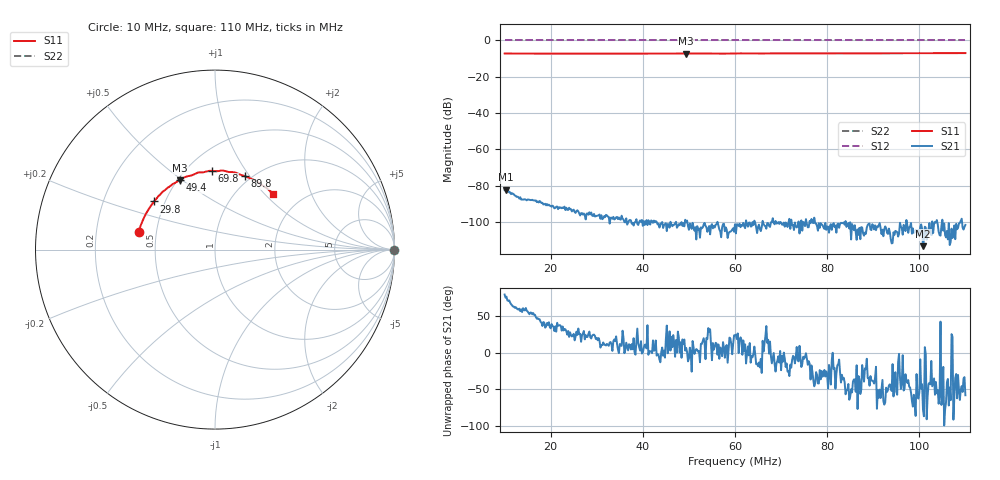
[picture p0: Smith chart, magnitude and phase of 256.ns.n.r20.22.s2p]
! Anritsu VNA Master:  Model: MS2036C/10/77
! SN:  1601066
! /card0/usr/256.ns.n.r20.22.s2p
! Existing Calibration Information:
! TYPE:  Current Settings,  Active Cal Settings
! TIME:  12/19/2017 04:17:31 PM,  12/19/2017 03:58:02 PM
! INTERNAL TEMP:  46.3 C,  47.0 C
! # POINTS:  501,  501
! START FREQ:  10.000 MHz,  10.000 MHz
! STOP FREQ:  110.000 MHz,  110.000 MHz
! SOURCE POWER:  High,  High
! IFBW:  100 Hz,  100 Hz
! AVG FACTOR:  1 ,  1
! REF PLANE 1:  0 mm,  0 mm
! REF PLANE 2:  0 mm,  0 mm
! CAL TYPE:  Full S11,  Full S11
! CAL METHOD:  SOLT,  SOLT
! CAL LINE TYPE:  Coax,  Coax
! DUT PORT 1:  N-Conn(F),  N-Conn(F)
! DUT PORT 2:  K-Conn(F),  K-Conn(F)
! CAL STATUS:  OK: Accuracy High,  --
# GHZ S DB R 50.0
! FREQ.GHZ  S11DB  S11A  S21DB  S21A  S12DB  S12A  S22DB  S22A
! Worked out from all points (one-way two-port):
!   501 points, 10 MHz to 110 MHz, reference 50 ohm
!   highest |S21| = -82.26 dB at 10.2 MHz (marker M1); lowest = -113.4 dB at 100.8 MHz (marker M2)
!   lowest |S11| = -7.3 dB at 49.4 MHz (marker M3), VSWR 2.52, Z = 25.8 + j24.5 ohm
!   |S11| at or under -10 dB: nowhere
!   |S22| runs from 0.0 to 0.0 dB; largest |S21 - S12| = 1
!   S11 on the Smith chart (normalised r, x): 10 MHz: 0.40, +0.10; 29.8 MHz: 0.43, +0.29; 49.4 MHz: 0.52, +0.49; 69.8 MHz: 0.66, +0.72; 89.8 MHz: 0.93, +0.95; 110 MHz: 1.44, +1.12
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0.01  -7.22 166.9  -82.52 78.7  0.00 0.0  0.00 0.0
0.0102  -7.20 166.7  -82.26 74.5  0.00 0.0  0.00 0.0
0.019  -7.26 155.3  -90.92 35.3  0.00 0.0  0.00 0.0
0.0268  -7.28 145.4  -95.23 23.5  0.00 0.0  0.00 0.0
0.0298  -7.27 141.7  -96.95 18.4  0.00 0.0  0.00 0.0
0.0364  -7.24 133.2  -98.11 13.4  0.00 0.0  0.00 0.0
0.0434  -7.26 124.3  -101.00 -3.0  0.00 0.0  0.00 0.0
0.0494  -7.29 116.8  -100.29 6.3  0.00 0.0  0.00 0.0
0.0518  -7.19 113.7  -102.37 3.6  0.00 0.0  0.00 0.0
0.0554  -7.22 109.9  -102.35 3.9  0.00 0.0  0.00 0.0
0.06  -7.16 103.7  -101.37 23.6  0.00 0.0  0.00 0.0
0.063  -7.17 100.8  -100.49 -3.8  0.00 0.0  0.00 0.0
0.0664  -7.17 95.9  -102.11 12.4  0.00 0.0  0.00 0.0
0.0698  -7.14 92.3  -100.08 2.1  0.00 0.0  0.00 0.0
0.0738  -7.15 86.8  -99.83 -11.9  0.00 0.0  0.00 0.0
0.0768  -7.09 83.7  -100.40 -26.1  0.00 0.0  0.00 0.0
0.0798  -7.15 79.9  -104.46 -25.6  0.00 0.0  0.00 0.0
0.0844  -7.05 74.7  -101.54 -50.2  0.00 0.0  0.00 0.0
0.0898  -7.10 67.9  -101.35 -38.3  0.00 0.0  0.00 0.0
0.0934  -7.08 63.4  -103.73 -44.7  0.00 0.0  0.00 0.0
0.1008  -7.04 54.9  -113.45 -77.6  0.00 0.0  0.00 0.0
0.11  -6.97 44.0  -101.73 -57.9  0.00 0.0  0.00 0.0
